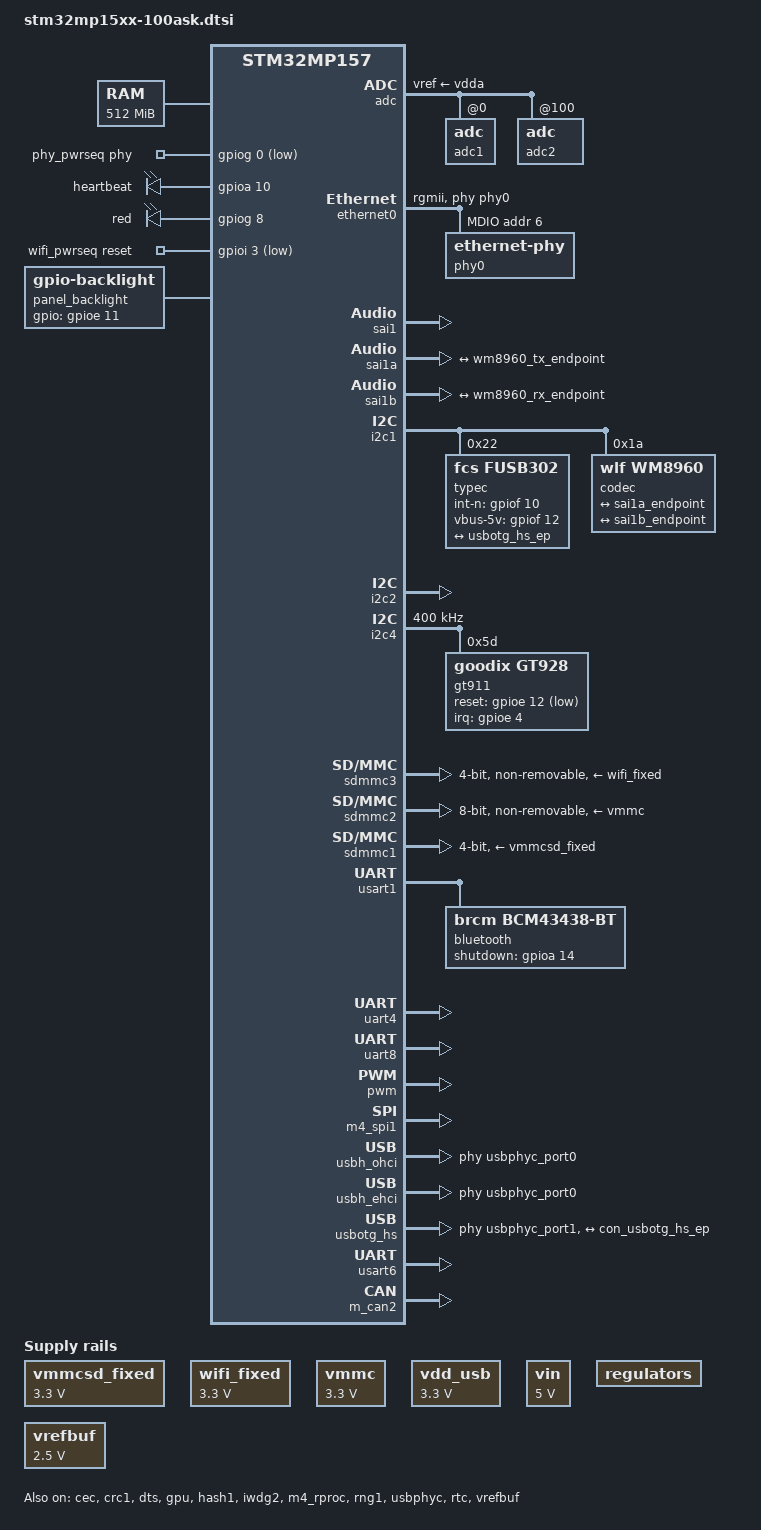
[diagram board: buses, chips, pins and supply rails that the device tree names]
// SPDX-License-Identifier: (GPL-2.0+ OR BSD-3-Clause)
/*
 * Copyright (C) STMicroelectronics 2019 - All Rights Reserved
 * Author: Alexandre Torgue <alexandre.torgue@st.com> for STMicroelectronics.
 */

#include "stm32mp157-m4-srm.dtsi"
#include "stm32mp157-m4-srm-pinctrl.dtsi"
#include <dt-bindings/mfd/st,stpmic1.h>
#include <dt-bindings/rtc/rtc-stm32.h>
#include <dt-bindings/input/input.h>
#include <dt-bindings/usb/pd.h>

/ {
	memory@c0000000 {
		device_type = "memory";
		reg = <0xc0000000 0x20000000>;
	};

	reserved-memory {
		#address-cells = <1>;
		#size-cells = <1>;
		ranges;

		mcuram2: mcuram2@10000000 {
			compatible = "shared-dma-pool";
			reg = <0x10000000 0x40000>;
			no-map;
		};

		vdev0vring0: vdev0vring0@10040000 {
			compatible = "shared-dma-pool";
			reg = <0x10040000 0x1000>;
			no-map;
		};

		vdev0vring1: vdev0vring1@10041000 {
			compatible = "shared-dma-pool";
			reg = <0x10041000 0x1000>;
			no-map;
		};

		vdev0buffer: vdev0buffer@10042000 {
			compatible = "shared-dma-pool";
			reg = <0x10042000 0x4000>;
			no-map;
		};

		mcuram: mcuram@30000000 {
			compatible = "shared-dma-pool";
			reg = <0x30000000 0x40000>;
			no-map;
		};

		retram: retram@38000000 {
			compatible = "shared-dma-pool";
			reg = <0x38000000 0x10000>;
			no-map;
		};
	};
	phy_pwrseq: phy-pwrseq {
			compatible = "myir,ar8035";
			phy-gpios = <&gpiog 0 GPIO_ACTIVE_LOW>;
	};

	vmmcsd_fixed: fixedregulator@0 {
		compatible = "regulator-fixed";
		regulator-name = "vmmcsd_fixed";
		regulator-min-microvolt = <3300000>;
        regulator-max-microvolt = <3300000>;
		
	};
#if 0
        fusb302_regulator: fusb302_reg {
                compatible = "regulator-fixed";
                regulator-name = "vbus_otg";
                regulator-min-microvolt = <5000000>;
                regulator-max-microvolt = <5000000>;
                gpio = <&gpiof 12 GPIO_ACTIVE_HIGH>;
                enable-active-high;
                regulator-active-discharge;
        };
#endif
	wifi_fixed: fixedregulator@1 {
			 pinctrl-names = "default";
			 pinctrl-0 = <&wifi_fixed_pins_a>;
			 compatible = "regulator-fixed";
			 regulator-name = "wifi_fixed";
			 regulator-min-microvolt = <3300000>;
			 regulator-max-microvolt = <3300000>;
			 startup-delay-us = <70000>;
			 regulator-boot-on;
			 regulator-pull-down;

	 };
   	vmmc: fixedregulator@2 {
        	compatible = "regulator-fixed";
        	regulator-name = "vmmc";
        	regulator-min-microvolt = <3300000>;
        	regulator-max-microvolt = <3300000>;
        	startup-delay-us = <70000>;
       		 enable-active-high;  
    };


   	vdd_usb: fixedregulator@3 {
        	compatible = "regulator-fixed";
        	regulator-name = "vdd_usb";
        	regulator-min-microvolt = <3300000>;
        	regulator-max-microvolt = <3300000>;
			startup-delay-us = <70000>;
			regulator-boot-on;
			regulator-pull-down; 
    };


	joystick {
		status = "disabled";
	        compatible = "gpio-keys";
        	#size-cells = <0>;
        	button-0 {
               		 label = "usr_button0";
               		 linux,code = <KEY_A>;
                	interrupt-parent = <&gpiog>;
                	interrupts = <3 IRQ_TYPE_EDGE_RISING>;
        	};
               button-1 {
                         label = "usr_button1";
                         linux,code = <KEY_ENTER>;
                        interrupt-parent = <&gpiog>;
                        interrupts = <2 IRQ_TYPE_EDGE_RISING>;
                };

	};

	led {
        	compatible = "gpio-leds";
        	blue {
        		label = "heartbeat";
        		gpios = <&gpioa 10 GPIO_ACTIVE_HIGH>;
        		linux,default-trigger = "heartbeat";
        		default-state = "off";
        	};
            red {
                label = "red";
                gpios = <&gpiog 8 GPIO_ACTIVE_HIGH>;
                linux,default-trigger = "none";
                status = "okay";
            };

	};

	wifi_pwrseq: wifi-pwrseq {
		compatible = "mmc-pwrseq-simple";
		reset-gpios = <&gpioi 3 GPIO_ACTIVE_LOW>;
	};

	panel_backlight: panel-backlight {
		compatible = "gpio-backlight";
		gpios = <&gpioe 11 GPIO_ACTIVE_HIGH>;
		default-on;	
		status = "okay";
	};

	usb_phy_tuning: usb-phy-tuning {
		st,hs-dc-level = <2>;
		st,fs-rftime-tuning;
		st,hs-rftime-reduction;
		st,hs-current-trim = <15>;
		st,hs-impedance-trim = <1>;
		st,squelch-level = <3>;
		st,hs-rx-offset = <2>;
		st,no-lsfs-sc;
	};

	vin: vin {
		compatible = "regulator-fixed";
		regulator-name = "vin";
		regulator-min-microvolt = <5000000>;
		regulator-max-microvolt = <5000000>;
		regulator-always-on;
	};
	
	regulators {
			compatible = "regulator-gpio";
			buck1-supply = <&vin>;
			buck2-supply = <&vin>;
			buck3-supply = <&vin>;
			buck4-supply = <&vin>;
			ldo1-supply = <&v3v3>;
			ldo2-supply = <&vin>;
			ldo3-supply = <&vdd_ddr>;
			ldo4-supply = <&vin>;
			ldo5-supply = <&vin>;
			ldo6-supply = <&v3v3>;
			vref_ddr-supply = <&vin>;
			boost-supply = <&vin>;
			pwr_sw1-supply = <&bst_out>;
			pwr_sw2-supply = <&bst_out>;
			
			vddcore: buck1 {
				regulator-name = "vddcore";
				regulator-min-microvolt = <1200000>;
				regulator-max-microvolt = <1350000>;
				regulator-always-on;
				regulator-initial-mode = <0>;
				regulator-over-current-protection;
			};

			vdd_ddr: buck2 {
				regulator-name = "vdd_ddr";
				regulator-min-microvolt = <1350000>;
				regulator-max-microvolt = <1350000>;
				regulator-always-on;
				regulator-initial-mode = <0>;
				regulator-over-current-protection;
			};

			vdd: buck3 {
				regulator-name = "vdd";
				regulator-min-microvolt = <3300000>;
				regulator-max-microvolt = <3300000>;
				regulator-always-on;
				st,mask-reset;
				regulator-initial-mode = <0>;
				regulator-over-current-protection;
			};

			v3v3: buck4 {
				regulator-name = "v3v3";
				regulator-min-microvolt = <3300000>;
				regulator-max-microvolt = <3300000>;
				regulator-always-on;
				regulator-over-current-protection;
				regulator-initial-mode = <0>;
			};

			v1v8_audio: ldo1 {
				regulator-name = "v1v8_audio";
				regulator-min-microvolt = <1800000>;
				regulator-max-microvolt = <1800000>;
				regulator-always-on;
				//interrupts = <IT_CURLIM_LDO1 0>;
			};

			v3v3_hdmi: ldo2 {
				regulator-name = "v3v3_hdmi";
				regulator-min-microvolt = <3300000>;
				regulator-max-microvolt = <3300000>;
				regulator-always-on;
				//interrupts = <IT_CURLIM_LDO2 0>;
			};

			vtt_ddr: ldo3 {
				regulator-name = "vtt_ddr";
				regulator-min-microvolt = <500000>;
				regulator-max-microvolt = <750000>;
				regulator-always-on;
				regulator-over-current-protection;
			};
			vdda: ldo5 {
				regulator-name = "vdda";
				regulator-min-microvolt = <2900000>;
				regulator-max-microvolt = <2900000>;
				//interrupts = <IT_CURLIM_LDO5 0>;
				regulator-boot-on;
			};

			v1v2_hdmi: ldo6 {
				regulator-name = "v1v2_hdmi";
				regulator-min-microvolt = <1200000>;
				regulator-max-microvolt = <1200000>;
				regulator-always-on;
				//interrupts = <IT_CURLIM_LDO6 0>;
			};

			vref_ddr: vref_ddr {
				regulator-name = "vref_ddr";
				regulator-always-on;
				regulator-over-current-protection;
			};

			 bst_out: boost {
				regulator-name = "bst_out";
				//interrupts = <IT_OCP_BOOST 0>;
			 };

			vbus_otg: pwr_sw1 {
				regulator-name = "vbus_otg";
				//interrupts = <IT_OCP_OTG 0>;
			 };

			 vbus_sw: pwr_sw2 {
				regulator-name = "vbus_sw";
				//interrupts = <IT_OCP_SWOUT 0>;
				regulator-active-discharge = <1>;
			 };
		};
	


	
	sound {
		compatible = "audio-graph-card";
		label = "WM8960-100ASK";
		mclk-fs = <256>;
		dai-format = "i2s";
		dais = <&sai1a_port &sai1b_port>;
		//dais = <&sai1b_port>;
		routing = "LINPUT1", "MICB", "RINPUT1", "MICB", "RINPUT2", "MICB";
		status = "okay";
    };
	
};

/*myir pin header
 *ANA0  ANA1 
 *PF13(ADC2_INP2) PF11(ADC1_INP2) 
 *PF14(ADC2_INP6 or ADC2_INN2) 
 *PF12(ADC1_INP6 or ADC1_INN2)
 *
 */
&adc {
	pinctrl-names = "default";
	pinctrl-0 = <&adc1_in6_pins_a>;
	vdd-supply = <&vdd>;
	vdda-supply = <&vdda>;
	vref-supply = <&vdda>;
	status = "okay";
	adc1: adc@0 {
                /*
                 * Type-C USB_PWR_CC1 & USB_PWR_CC2 on in18 & in19.
                 * Use at least 5 * RC time, e.g. 5 * (Rp + Rd) * C:
                 * 5 * (56 + 47kOhms) * 5pF => 2.5us.
                 * Use arbitrary margin here (e.g. 5µs).
                 */
                st,min-sample-time-nsecs = <5000>;
                /* ANA0, ANA1, USB Type-C CC1 & CC2 */
                st,adc-channels = <0 1 18 19>;
                status = "okay";
        };
        adc2: adc@100 {
                /* ANA0, ANA1, temp sensor, USB Type-C CC1 & CC2 */
                st,adc-channels = <0 1 12 18 19>;
                /* temperature sensor min sample time */
                st,min-sample-time-nsecs = <10000>;
                status = "okay";
        };
        adc_temp: temp {
                status = "okay";
        };

};

&cec {
	pinctrl-names = "default", "sleep";
//	pinctrl-0 = <&cec_pins_a>;
//	pinctrl-1 = <&cec_pins_sleep_a>;
	status = "okay";
};

&cpu0{
	cpu-supply = <&vddcore>;
};

&cpu1{
	cpu-supply = <&vddcore>;
};

&crc1 {
	status = "okay";
};

&dma1 {
	sram = <&dma_pool>;
};

&dma2 {
	sram = <&dma_pool>;
};

&dts {
	status = "okay";
};

&ethernet0 {
	status = "okay";
	pinctrl-0 = <&ethernet0_rgmii_pins_a>;
	pinctrl-1 = <&ethernet0_rgmii_pins_sleep_a>;
	pinctrl-names = "default", "sleep";
	phy-mode = "rgmii";
	max-speed = <1000>;
	phy-handle = <&phy0>;

	mdio0 {
		#address-cells = <1>;
		#size-cells = <0>;
		compatible = "snps,dwmac-mdio";
		phy0: ethernet-phy@6 {
            		reg = <6>; 
		};
	};
};

&gpu {
	contiguous-area = <&gpu_reserved>;
	status = "okay";
};

&hash1 {
	status = "okay";
};

&sai1 {
	clocks = <&rcc SAI1>, <&rcc PLL3_Q>, <&rcc PLL3_R>;
	clock-names = "pclk", "x8k", "x11k";

	pinctrl-names = "default", "sleep";
	pinctrl-0 = <&sai1a_pins_mx &sai1b_pins_mx>;
	pinctrl-1 = <&sai1a_sleep_pins_mx &sai1b_sleep_pins_mx>;
	status = "okay";
};

&sai1a {
        clocks = <&rcc SAI1_K>, <&sai1b>;
        clock-names = "sai_ck", "MCLK";

	status = "okay";
	dma-names = "tx";
	st,sync = <&sai1b 1>;
	sai1a_port: port {
		sai1a_endpoint: endpoint {
			remote-endpoint = <&wm8960_tx_endpoint>;
			format = "i2s";
			mclk-fs = <256>;
			dai-tdm-slot-num = <2>;
			dai-tdm-slot-width = <16>;
		};
	};
};

&sai1b {
	status = "okay";
	dma-names = "rx";
	#clock-cells = <0>;
	sai1b_port: port {
		sai1b_endpoint: endpoint {
			remote-endpoint = <&wm8960_rx_endpoint>;
			format = "i2s";
			mclk-fs = <256>;
			dai-tdm-slot-num = <2>;
			dai-tdm-slot-width = <16>;
		};
	};
};

&i2c1 {
        pinctrl-names = "default";
        pinctrl-0 = <&i2c1_pins_a>;
        i2c-scl-rising-time-ns = <185>;
        i2c-scl-falling-time-ns = <20>;
        status = "okay";
        /delete-property/dmas;
        /delete-property/dma-names;
#if 0
        typec: fusb302@22 {
                compatible = "fcs,fusb302", "fairchild,fusb302";
                reg = <0x22>;
                pinctrl-names = "default";
                pinctrl-0 = <&fusb302_pins_a>;

		vbus-supply = <&fusb302_regulator>;
                int-n-gpios = <&gpiof 10 GPIO_ACTIVE_HIGH>;
                vbus-5v-gpios = <&gpiof 12 GPIO_ACTIVE_HIGH>;
		interrupt-parent = <&gpiof>;
		interrupts = <10 IRQ_TYPE_EDGE_FALLING>;
                status = "okay";
        };
#endif
#if 1
                typec: fusb302@22 {
                        compatible = "fcs,fusb302", "fairchild,fusb302";
                        reg = <0x22>;
                        pinctrl-names = "default";
                        pinctrl-0 = <&fusb302_pins_a>;

			//vbus-supply = <&fusb302_regulator>;
			int-n-gpios = <&gpiof 10 GPIO_ACTIVE_HIGH>;
                        vbus-5v-gpios = <&gpiof 12 GPIO_ACTIVE_HIGH>;
                        status = "okay";

			//interrupt-parent = <&gpiof>;
			//interrupts = <10 IRQ_TYPE_EDGE_FALLING>;
#if 1
    connector {
        compatible = "usb-c-connector";
        label = "USB-C";
        power-role = "dual";
        power-opmode = "default";

                try-power-role = "sink";
                source-pdos = <PDO_FIXED(5000, 3000, PDO_FIXED_USB_COMM)>;
                sink-pdos = <PDO_FIXED(5000, 3000, PDO_FIXED_USB_COMM)
                             PDO_VAR(3000, 12000, 3000)
                             PDO_PPS_APDO(3000, 11000, 3000)>;
                op-sink-microwatt = <10000000>;

        port {
            con_usbotg_hs_ep: endpoint {
                 remote-endpoint = <&usbotg_hs_ep>;
            };
        };
    };
#endif
                };
#endif
		codec: wm8960@1a {
			compatible = "wlf,wm8960";
			reg = <0x1a>;
			#sound-dai-cells = <0x0>;
			status = "okay";
			hp-det = <3 0>;
			//reset-gpios = <&gpiog 9 GPIO_ACTIVE_LOW>;
			clocks = <&sai1b>;
			//clocks = <&rcc SAI1_K>;
			clock-names = "mclk";
			wlf,shared-lrclk;
			wlf,double-dai;

			port {
				#address-cells = <0x1>;
				#size-cells = <0x0>;

				wm8960_tx_endpoint: endpoint@0 {
					reg = <0x0>;
					remote-endpoint = <&sai1a_endpoint>;
					frame-master;
					bitclock-master;
				};

				wm8960_rx_endpoint: endpoint@1 {
					reg = <0x1>;
					remote-endpoint = <&sai1b_endpoint>;
					frame-master;
					bitclock-master;
				};
			};
		};
};


&i2c2 {
	pinctrl-names = "default", "sleep";
	pinctrl-0 = <&i2c2_pins_z_mx>;
	pinctrl-1 = <&i2c2_sleep_pins_z_mx>;
	i2c-scl-rising-time-ns = <100>;
	i2c-scl-falling-time-ns = <7>;
	status = "okay";
	/delete-property/dmas;
	/delete-property/dma-names;
	//clock-frequency = <100000>;
	
	

};

&i2c4 {
	pinctrl-names = "default", "sleep";
	pinctrl-0 = <&i2c4_pins_a>;
	pinctrl-1 = <&i2c4_pins_sleep_a>;
	i2c-scl-rising-time-ns = <185>;
	i2c-scl-falling-time-ns = <20>;
	clock-frequency = <400000>;
	status = "okay";
	/* spare dmas for other usage */
	/delete-property/dmas;
	/delete-property/dma-names;
	
	gt911@5d {
			compatible = "goodix,gt928";
			reg = <0x5d>;
			interrupt-parent = <&gpioe>;
			interrupts = <4 IRQ_TYPE_EDGE_FALLING>;
			reset-gpios = <&gpioe 12 GPIO_ACTIVE_LOW>;
			irq-gpios = <&gpioe 4 IRQ_TYPE_EDGE_FALLING>;
			irq-flags = <2>;                /*1:rising 2: falling*/
			touchscreen-max-id = <5>;
			touchscreen-size-x = <1024>;
			touchscreen-size-y = <600>;
	};




};


&ipcc {
	status = "okay";
};

&iwdg2 {
	timeout-sec = <32>;
	status = "okay";
};


&m4_rproc {
	memory-region = <&retram>, <&mcuram>, <&mcuram2>, <&vdev0vring0>,
			<&vdev0vring1>, <&vdev0buffer>;
	mboxes = <&ipcc 0>, <&ipcc 1>, <&ipcc 2>;
	mbox-names = "vq0", "vq1", "shutdown";
	interrupt-parent = <&exti>;
	interrupts = <68 1>;
	wakeup-source;
	status = "okay";
};

/*
&pwr {
	pwr-supply = <&vdd>;
};
*/

#if 0
&pwr_regulators {
	vdd-supply = <&vdd>;
	vdd_3v3_usbfs-supply = <&vdd_usb>;
	
	reg11: reg11 { 
			regulator-name = "reg11";
			regulator-min-microvolt = <1100000>;
			regulator-max-microvolt = <1100000>; 
		};
		
	reg18: reg18 { 
			regulator-name = "reg18";
			regulator-min-microvolt = <1800000>;
			regulator-max-microvolt = <1800000>;
			};
			
	usb33: usb33 { 
			regulator-name = "usb33";
			regulator-min-microvolt = <3300000>;
			regulator-max-microvolt = <3300000>; 
		};
};
#endif

&rng1 {
	status = "okay";
};

/* Wifi */
&sdmmc3 {
        arm,primecell-periphid = <0x10153180>;
        pinctrl-names = "default", "opendrain", "sleep";
        pinctrl-0 = <&sdmmc3_b4_pins_a>;
        pinctrl-1 = <&sdmmc3_b4_od_pins_a>;
        pinctrl-2 = <&sdmmc3_b4_sleep_pins_a>;
        non-removable;
        st,neg-edge;
        bus-width = <4>;
        vmmc-supply = <&wifi_fixed>;
        mmc-pwrseq = <&wifi_pwrseq>;
        #address-cells = <1>;
        #size-cells = <0>;
        keep-power-in-suspend;
        status = "okay";

};



/*emmc*/
&sdmmc2 {
        pinctrl-names = "default", "opendrain", "sleep";
        pinctrl-0 = <&sdmmc2_b4_pins_a &sdmmc2_d47_pins_a>;
        pinctrl-1 = <&sdmmc2_b4_od_pins_a &sdmmc2_d47_pins_a>;
        pinctrl-2 = <&sdmmc2_b4_sleep_pins_a &sdmmc2_d47_sleep_pins_a>;
        non-removable;
        no-sd;
        no-sdio;
        st,dirpol;
        st,negedge; 
        bus-width = <8>;
		vmmc-supply = <&vmmc>;
        vqmmc-supply = <&vmmc>;
        status = "okay";
};

/*SD card*/
&sdmmc1 {
	pinctrl-names = "default", "opendrain", "sleep";
	pinctrl-0 = <&sdmmc1_b4_pins_a>;
	pinctrl-1 = <&sdmmc1_b4_od_pins_a>;
	pinctrl-2 = <&sdmmc1_b4_sleep_pins_a>;
	broken-cd;
	st,neg-edge;
	bus-width = <4>;
	vmmc-supply = <&vmmcsd_fixed>;
	status = "okay";
};



&usart1{
	pinctrl-names = "default", "sleep","idle";
	pinctrl-0 = <&usart1_pins_z_mx>;
	pinctrl-1 = <&usart1_sleep_pins_z_mx>;
	pinctrl-2 = <&usart1_idle_pins_z_mx>;
	uart-has-rtscts;
	status = "okay";

	bluetooth {
		//pinctrl-names = "default";
		//pinctrl-0 = <&btreg_s>;
		shutdown-gpios = <&gpioa 14 GPIO_ACTIVE_HIGH>;
		compatible = "brcm,bcm43438-bt";
		max-speed = <3000000>;
	};
};


/*DEBUG*/
&uart4 {
	pinctrl-names = "default", "sleep", "idle";
	pinctrl-0 = <&uart4_pins_a>;
	pinctrl-1 = <&uart4_sleep_pins_a>;
	pinctrl-2 = <&uart4_idle_pins_a>;
	pinctrl-3 = <&uart4_pins_a>;
	/delete-property/dmas;
	/delete-property/dma-names;
	status = "okay";
};


&uart8 {
        pinctrl-names = "default", "sleep";
        pinctrl-0 = <&uart8_pins_mx>;
        pinctrl-1 = <&uart8_sleep_pins_mx>;
        status = "okay";
};

/*pwm for backlight no usr*/
&timers15 {
	/delete-property/dmas;
	/delete-property/dma-names;
	pwm {
		pinctrl-0 = <&pwm15_pins_a>;
		pinctrl-1 = <&pwm15_sleep_pins_a>;
		pinctrl-names = "default", "sleep";
		status = "okay";
	};
	timer@14 {
		status = "okay";
	};
};

/*SPI for A7 core*/
/*
&spi1 {
	pinctrl-names = "default", "sleep";
        pinctrl-0 = <&spi1_pins_a>;
        pinctrl-1 = <&spi1_sleep_pins_a>;
	    cs-gpios = <&gpioz 3 0>;
        status = "okay";
	spidev@0 {     
       		 compatible = "spidev";
        	spi-max-frequency = <20000000>;
        	reg = <0>;
    };

};
*/

/*SPI1 for M4 core*/
&m4_spi1 {
   pinctrl-names = "rproc_default";
   pinctrl-0 = <&m4_spi1_pins_z_mx>;
   status = "okay";

};

&sram {
	dma_pool: dma_pool@0 {
		reg = <0x50000 0x10000>;
		pool;
	};
};

&timers1 {
	/* spare dmas for other usage */
	/delete-property/dmas;
	/delete-property/dma-names;
	status = "disabled";
	pwm {
		pinctrl-0 = <&pwm1_pins_a>;
		pinctrl-1 = <&pwm1_sleep_pins_a>;
		pinctrl-names = "default", "sleep";
		status = "okay";
	};
	timer@0 {
		status = "okay";
	};
};

&timers3 {
	/delete-property/dmas;
	/delete-property/dma-names;
	status = "disabled";
	pwm {
		pinctrl-0 = <&pwm3_pins_a>;
		pinctrl-1 = <&pwm3_sleep_pins_a>;
		pinctrl-names = "default", "sleep";
		status = "okay";
	};
	timer@2 {
		status = "okay";
	};
};

&timers4 {
	/delete-property/dmas;
	/delete-property/dma-names;
	status = "disabled";
	pwm {
		pinctrl-0 = <&pwm4_pins_a &pwm4_pins_b>;
		pinctrl-1 = <&pwm4_sleep_pins_a &pwm4_sleep_pins_b>;
		pinctrl-names = "default", "sleep";
		status = "okay";
	};
	timer@3 {
		status = "okay";
	};
};

&timers5 {
	/delete-property/dmas;
	/delete-property/dma-names;
	status = "disabled";
	pwm {
		pinctrl-0 = <&pwm5_pins_a>;
		pinctrl-1 = <&pwm5_sleep_pins_a>;
		pinctrl-names = "default", "sleep";
		status = "okay";
	};
	timer@4 {
		status = "okay";
	};
};

&timers6 {
	/delete-property/dmas;
	/delete-property/dma-names;
	status = "disabled";
	timer@5 {
		status = "okay";
	};
};

&timers12 {
	/delete-property/dmas;
	/delete-property/dma-names;
	status = "disabled";
	pwm {
		pinctrl-0 = <&pwm12_pins_a>;
		pinctrl-1 = <&pwm12_sleep_pins_a>;
		pinctrl-names = "default", "sleep";
		status = "okay";
	};
	timer@11 {
		status = "okay";
	};
};

&usbh_ohci {
	phys = <&usbphyc_port0>;
	status = "okay";
};

&usbh_ehci {
	phys = <&usbphyc_port0>;
	status = "okay";
};


&usbotg_hs {
    /*USB_ID but no use*/
//    pinctrl-names = "default";
//    pinctrl-0 = <&usbotg_hs_pins_a>;
//    dr_mode = "peripheral";
//    force-b-session-valid;

    extcon = <&typec>;
    phys = <&usbphyc_port1 0>;
    phy-names = "usb2-phy";
    usb-role-switch;
    status = "okay";
#if 1
    port {
            usbotg_hs_ep: endpoint {
                    remote-endpoint = <&con_usbotg_hs_ep>;
            };
    };
#endif
};


&usbphyc {
	status = "okay";
};

&usbphyc_port0 {
	phy-supply = <&vdd_usb>;
	st,phy-tuning = <&usb_phy_tuning>;
};

&usbphyc_port1 {
	phy-supply = <&vdd_usb>;
	st,phy-tuning = <&usb_phy_tuning>;
};


&rtc {
        st,lsco = <RTC_OUT2_RMP>;
        pinctrl-0 = <&rtc_out2_rmp_pins_a>;
        pinctrl-names = "default";
};

&rtc {
	status = "okay";
};


&vrefbuf {
	regulator-min-microvolt = <2500000>;
	regulator-max-microvolt = <2500000>;
	vdda-supply = <&vdd>;
	status = "okay";
};

/*rs485*/
&usart6 {
       pinctrl-names = "default", "sleep";
        pinctrl-0 = <&uart6_pins_a>;
        status = "okay";
};

/*can*/
&m_can2 {
        pinctrl-names = "default";
        pinctrl-0 = <&m_can2_pins_a_100ask>;
        status = "okay";

        can-transceiver {
                max-bitrate = <5000000>;
        };

};
